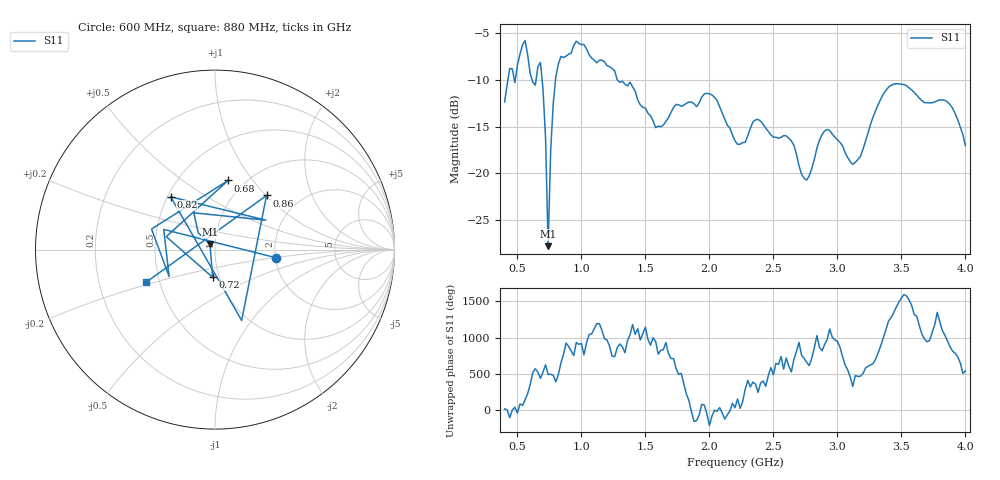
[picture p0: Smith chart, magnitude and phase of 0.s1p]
!Created with skrf (http://scikit-rf.org).
# Hz S RI R 50.0
!freq ReS11 ImS11
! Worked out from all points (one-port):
!   181 points, 400 MHz to 4 GHz, reference 50 ohm
!   lowest |S11| = -27.8 dB at 740 MHz (marker M1), VSWR 1.09, Z = 47.2 + j2.82 ohm
!   |S11| at or under -10 dB: start of sweep to 425.8 MHz; 692.9 MHz to 797.8 MHz (104.9 MHz wide, 14.1 % of centre); 1.28 GHz to end of sweep (the widest 3 of 5)
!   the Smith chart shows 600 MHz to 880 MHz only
!   S11 on the Smith chart (normalised r, x): 600 MHz: 2.01, -0.20; 680 MHz: 0.84, +0.76; 720 MHz: 0.93, -0.29; 820 MHz: 0.52, +0.36; 860 MHz: 1.38, +1.01; 880 MHz: 0.42, -0.19
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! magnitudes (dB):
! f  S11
! 400 MHz  -12.4
! 440 MHz  -8.8
! 480 MHz  -10.3
! 560 MHz  -5.8
! 600 MHz  -9.3
! 680 MHz  -8.1
! 720 MHz  -16.2
! 740 MHz  -27.8
! 760 MHz  -17.6
! 780 MHz  -12.5
! 820 MHz  -8.3
! 860 MHz  -7.6
! 880 MHz  -7.5
! 1.02 GHz  -6.2
! 1.3 GHz  -10.3
! 1.58 GHz  -15.1
! 1.76 GHz  -12.7
! 2.02 GHz  -11.6
! 2.2 GHz  -16.5
! 2.38 GHz  -14.2
! 2.66 GHz  -17.0
! 2.76 GHz  -20.7
! 2.92 GHz  -15.3
! 3.1 GHz  -18.7
! 3.38 GHz  -11.1
! 3.56 GHz  -10.9
! 3.86 GHz  -12.4
! 4 GHz  -17.0
